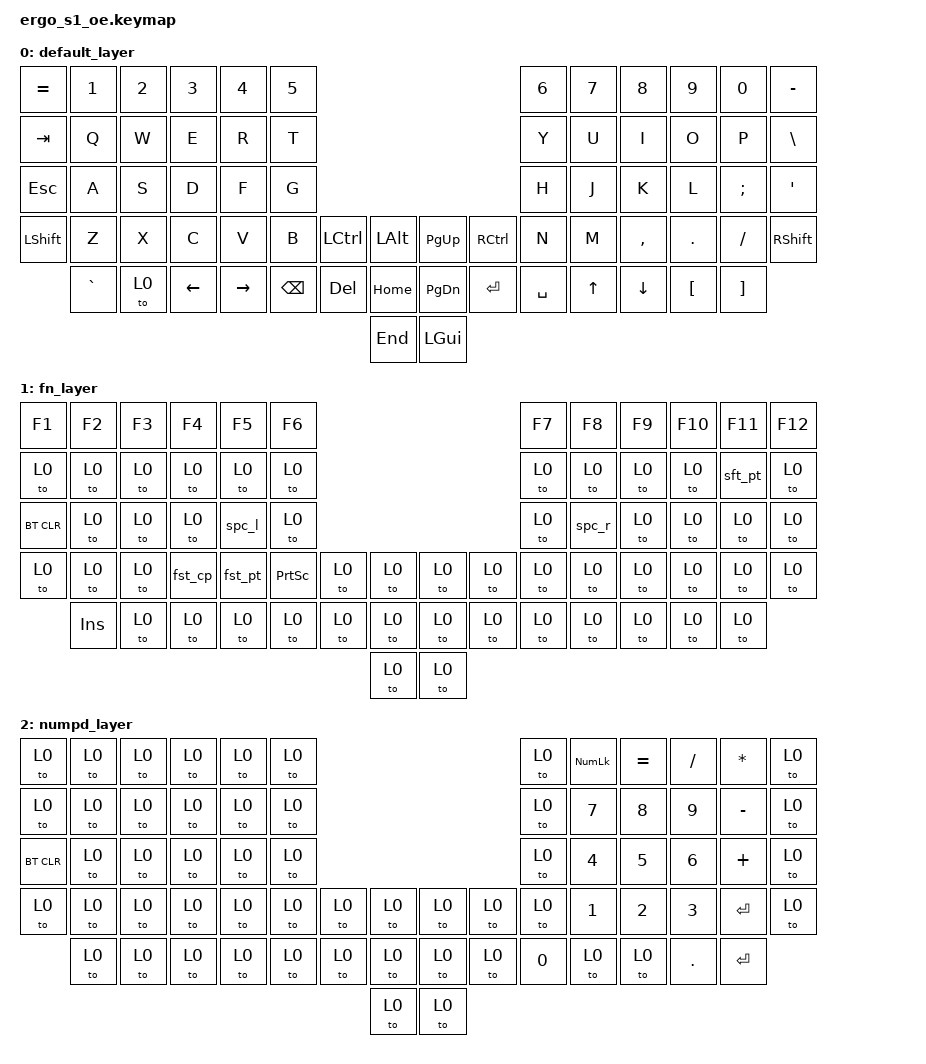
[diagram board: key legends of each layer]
/*
 * Copyright (c) 2021 The ZMK Contributors
 *
 * SPDX-License-Identifier: MIT
 */

#include <behaviors.dtsi>
#include <dt-bindings/zmk/keys.h>
#include <dt-bindings/zmk/bt.h>
#include <dt-bindings/zmk/ext_power.h>
#include <dt-bindings/zmk/outputs.h>

#define DEFAULT 0
#define FN      1
#define NUMPD   2

#define COMBO(NAME, BINDINGS, KEYPOS) \
  combo_##NAME { \
    timeout-ms = <175>; \
    bindings = <BINDINGS>; \
    key-positions = <KEYPOS>; \
    layers = <0>; \
  };

/ {
       
       combos {
              compatible = "zmk,combos";
              
              COMBO(zmk_studio_unlock,    &studio_unlock, 53 0)
              COMBO(go_to_function_layer, &tog FN, 53 54)
              COMBO(go_to_numpd_layer,    &tog NUMPD, 53 55)
              COMBO(bt_profile_one,       &bt BT_SEL 0, 53 1)
              COMBO(bt_profile_two,       &bt BT_SEL 1, 53 2)
              COMBO(bt_profile_three,     &bt BT_SEL 2, 53 3)
              COMBO(bt_profile_four,      &bt BT_SEL 3, 53 4)
              COMBO(bt_profile_five,      &bt BT_SEL 4, 53 5)
       };

       macros {
              fst_cp: fst_cp {
                     label = "single_key_copy";
                     compatible = "zmk,behavior-macro";
                     #binding-cells = <0>;
                     bindings
                            = <&macro_press &kp LCTRL>
                            , <&macro_tap &kp C>
                            , <&macro_release &kp LCTRL>
                            ;
              };
              fst_pt: fst_pt {
                     label = "single_key_paste";
                     compatible = "zmk,behavior-macro";
                     #binding-cells = <0>;
                     bindings
                            = <&macro_press &kp LCTRL>
                            , <&macro_tap &kp V>
                            , <&macro_release &kp LCTRL>
                            ;
              };
//            Paste with no formatting
              sft_pt: sft_pt {
                     label = "Paste with no formatting";
                     compatible = "zmk,behavior-macro";
                     #binding-cells = <0>;
                     bindings
                            = <&macro_press &kp LCTRL &kp LSHFT>
                            , <&macro_tap &kp V>
                            , <&macro_release &kp LCTRL &kp LSHFT>
                            ;
              };
              spc_l: spc_l {
                     label = "Change Virtual Desktop Left";
                     compatible = "zmk,behavior-macro";
                     #binding-cells = <0>;
                     bindings
                            = <&macro_press &kp LGUI &kp LCTRL>
                            , <&macro_tap &kp LEFT>
                            , <&macro_release &kp LGUI &kp LCTRL>
                            ;
              };
              spc_r: spc_r {
                     label = "Change Virtual Desktop Right";
                     compatible = "zmk,behavior-macro";
                     #binding-cells = <0>;
                     bindings
                            = <&macro_press &kp LGUI &kp LCTRL>
                            , <&macro_tap &kp RIGHT>
                            , <&macro_release &kp LGUI &kp LCTRL>
                            ;
              };
       };


       keymap {
              compatible = "zmk,keymap";
              default_layer {
//     ----------------------------------------------------------------         ----------------------------------------------------------------
//     | EQL  |  1   |  2   |  3   |  4   |  5   |                                                   |  6   |  7   |  8   |  9   |  0   | MINS |
//     | TAB  |  Q   |  W   |  E   |  R   |  T   |                                                   |  Y   |  U   |  I   |  O   |  P   | BSLS |
//     | ESC  |  A   |  S   |  D   |  F   |  G   |                                                   |  H   |  J   |  K   |  L   | SCLN | QUOT |
//     | SHFT |  Z   |  X   |  C   |  V   |  B   |      | CTL  | ALT  |         | PGUP | CTL  |      |  N   |  M   | COMM | DOT  | SLSH | SHFT |
//            | GRV  | MOD  | LEFT | RGHT |      | BSPC | DEL  | HOME |         | PGDN | ENT  | SPC  |      |  UP  |  DN  | LBKT | RBKT |
//                                                             | END  |         | WIN  |
                     bindings = <
        &kp EQUAL  &kp N1  &kp N2   &kp N3   &kp N4    &kp N5                                                                    &kp N6    &kp N7    &kp N8    &kp N9     &kp N0    &kp MINUS
        &kp TAB    &kp Q   &kp W    &kp E    &kp R     &kp T                                                                     &kp Y     &kp U     &kp I     &kp O      &kp P     &kp BSLH
        &kp ESC    &kp A   &kp S    &kp D    &kp F     &kp G                                                                     &kp H     &kp J     &kp K     &kp L      &kp SEMI  &kp APOS
        &kp LSHFT  &kp Z   &kp X    &kp C    &kp V     &kp B               &kp LCTRL &kp LALT      &kp PG_UP &kp RCTRL           &kp N     &kp M     &kp COMMA &kp PERIOD &kp SLASH &kp RSHFT
                   &kp GRAVE &to 0  &kp LEFT &kp RIGHT           &kp BSPC  &kp DEL   &kp HOME      &kp PG_DN &kp ENTER &kp SPACE           &kp UP    &kp DOWN  &kp LBKT   &kp RBKT
                                                                                     &kp END       &kp LGUI
                     >;
              };
              fn_layer {
// (NOTE: replacing &trans layer with &to 0 "MOD" to reset to base layer reduce cognative load after using layer).
//     ----------------------------------------------------------------         ----------------------------------------------------------------
//     |  F1  |  F2  |  F3  |  F4  |  F5  |  F6  |                                                   |  F7  |  F8  |  F9  |  F10 |  F11 |  F12 |
//     |      |      |      |      |      |      |                                                   |      |      |      |      |      |      |
//     |BT_CLR|      |      |      |      |      |                                                   |      |      |      |      |      |      |
//     |      |      |      |      |      |PRTSCR|      |      |      |         |      |      |      |      |      |      |      |      |      |
//            |INSERT| MOD  |      |      |      |      |      |      |         |      |      |      |      |      |      |      |      |
//                                                             |      |         |      |
                     bindings = <
        &kp F1     &kp F2  &kp F3   &kp F4   &kp F5    &kp F6                                                                    &kp F7    &kp F8    &kp F9    &kp F10   &kp F11 &kp F12
        &to 0      &to 0   &to 0    &to 0    &to 0     &to 0                                                                     &to 0     &to 0     &to 0     &to 0     &sft_pt  &to 0 
        &bt BT_CLR &to 0   &to 0    &to 0    &spc_l    &to 0                                                                     &to 0     &spc_r    &to 0     &to 0     &to 0    &to 0
        &to 0      &to 0   &to 0    &fst_cp  &fst_pt   &kp PSCRN           &to 0     &to 0         &to 0     &to 0               &to 0     &to 0     &to 0     &to 0     &to 0    &to 0 
                   &kp INS &to 0    &to 0    &to 0               &to 0     &to 0     &to 0         &to 0     &to 0     &to 0               &to 0     &to 0     &to 0     &to 0 
                                                                                     &to 0         &to 0     
                     >;
              };
              numpd_layer {
//     ----------------------------------------------------------------         ----------------------------------------------------------------
//     |      |      |      |      |      |      |                                                   |      | NLCK |  =   |  /   |  *   |      |
//     |      |      |      |      |      |      |                                                   |      |  7   |  8   |  9   |  -   |      |
//     |BT_CLR|      |      |      |      |      |                                                   |      |  4   |  5   |  6   |  +   |      |
//     |      |      |      |      |      | PTSC |      |      |      |         |      |      |      |      |  1   |  2   |  3   | ENT  |      |
//            |      | MOD  |      |      |      |      |  FN  |      |         |      |      |  0   |      |      |      |  .   | ENT  |
//                                                             |      |         |      |
              
                     bindings = <
        &to 0      &to 0   &to 0    &to 0    &to 0     &to 0                                                                     &to 0     &kp KP_NUM &kp EQL   &kp SLASH &kp STAR  &to 0 
        &to 0      &to 0   &to 0    &to 0    &to 0     &to 0                                                                     &to 0     &kp N7     &kp N8    &kp N9    &kp MINUS &to 0 
        &bt BT_CLR &to 0   &to 0    &to 0    &to 0     &to 0                                                                     &to 0     &kp N4     &kp N5    &kp N6    &kp PLUS  &to 0
        &to 0      &to 0   &to 0    &to 0    &to 0     &to 0               &to 0     &to 0         &to 0     &to 0               &to 0     &kp N1     &kp N2    &kp N3    &kp ENTER &to 0 
                   &to 0   &to 0    &to 0    &to 0               &to 0     &to 0     &to 0         &to 0     &to 0     &kp N0              &to 0      &to 0     &kp DOT   &kp ENTER
                                                                                     &to 0         &to 0 
                     >;
              };
              extra1 {
                     status = "reserved";
              };
    };
};
